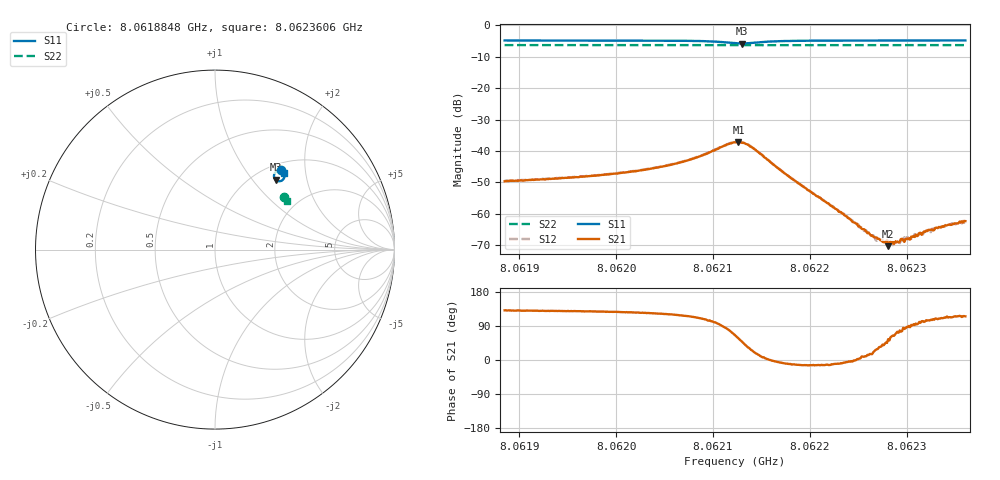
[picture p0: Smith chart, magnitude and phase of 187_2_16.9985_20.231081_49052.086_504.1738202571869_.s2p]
#  HZ  S  RI  R  50.00
! Rohde & Schwarz Vector Network Analyzer
! Rohde-Schwarz,ZNB20-2Port,1311601062101988,3.16
! Created: UTC 3/20/2024, 11:00:24 PM
! freq[Hz]  re:S11  im:S11  re:S21  im:S21  re:S12  im:S12  re:S22  im:S22
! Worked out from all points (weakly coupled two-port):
!   401 points, 8.0618848 GHz to 8.0623606 GHz, reference 50 ohm
!   highest |S21| = -37.14 dB at 8.0621263 GHz (marker M1); lowest = -70.3 dB at 8.0622809 GHz (marker M2)
!   lowest |S11| = -5.8 dB at 8.0621299 GHz (marker M3), VSWR 3.12, Z = 62.2 + j65.9 ohm
!   |S11| at or under -10 dB: nowhere
!   |S22| runs from -6.3 to -6.3 dB; largest |S21 - S12| = 0.001
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8.06188482e9  0.3689 0.4421  -0.00216 0.00248  -0.00203 0.00267  0.3871 0.294
8.06196452e9  0.3751 0.4362  -0.00243 0.00306  -0.00231 0.00321  0.3898 0.2903
8.06200853e9  0.3791 0.4316  -0.00268 0.00366  -0.00251 0.00381  0.3914 0.2879
8.06204422e9  0.3831 0.4257  -0.00295 0.00466  -0.00272 0.0049  0.3926 0.2859
8.0620799e9  0.3868 0.4138  -0.00301 0.00695  -0.00262 0.00723  0.3938 0.2838
8.06212273e9  0.3538 0.3811  0.00572 0.0126  0.00646 0.0124  0.3932 0.281
8.0621263e9  0.3452 0.3836  0.0075 0.0117  0.0083 0.0113  0.393 0.2809
8.06212986e9  0.3374 0.389  0.00894 0.0101  0.0098 0.00974  0.3928 0.2812
8.06214176e9  0.3289 0.415  0.0102 0.0041  0.0105 0.00357  0.3934 0.2819
8.06217269e9  0.353 0.439  0.00452 -0.000665  0.00452 -0.000954  0.3956 0.2812
8.06220243e9  0.3656 0.4387  0.0021 -0.00051  0.00207 -0.000652  0.3972 0.2796
8.06223573e9  0.373 0.4359  0.00094 -0.000115  0.000978 -0.000156  0.3982 0.2776
8.06226071e9  0.3765 0.4341  0.000487 0.000113  0.000491 0.000123  0.3993 0.2763
8.06226904e9  0.3775 0.4335  0.00037 0.000198  0.00033 0.000172  0.3997 0.2759
8.06228093e9  0.3789 0.4326  0.000174 0.00025  0.000228 0.000295  0.4 0.2753
8.06228212e9  0.379 0.4325  0.000215 0.000272  0.00023 0.000247  0.4 0.2753
8.06229164e9  0.38 0.4319  0.000108 0.000331  0.000103 0.000307  0.4004 0.2748
8.06229878e9  0.3808 0.4313  4.49e-05 0.000394  4.31e-05 0.000381  0.4007 0.2744
8.06230472e9  0.3813 0.431  -2.03e-05 0.000433  2.58e-06 0.000398  0.4009 0.2741
8.06232138e9  0.3828 0.4299  -0.00013 0.000515  -9.6e-05 0.000544  0.4013 0.2732
8.06234398e9  0.3846 0.4284  -0.000265 0.000622  -0.000236 0.000622  0.4021 0.2722
8.06236063e9  0.386 0.4275  -0.000326 0.000692  -0.000296 0.000699  0.4027 0.2715
